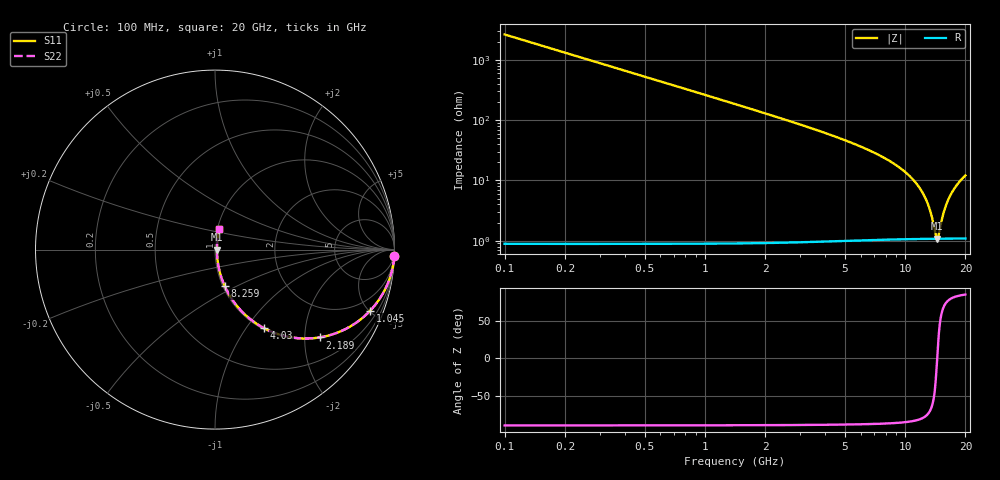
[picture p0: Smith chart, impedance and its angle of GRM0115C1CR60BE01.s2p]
!Murata Part Number: GRM0115C1CR60BE01
!These Parameters are Measured in Series Mode Connection
!Data Generated on Mar 30, 2021
!  o--ll--o
!Port1  Port2
!  o------o
!Operation Temp=25[degC], DC Bias Voltage=0[V]
!Freq. Start=100[MHz] Stop=20[GHz] 401[Steps]
# Hz S RI R 50
!Freq.(Hz) S11(Real) S11(Imag) S21(Real) S21(Imag) S12(Real) S12(Imag) S22(Real) S22(Imag)
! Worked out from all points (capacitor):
!   401 points, 100 MHz to 20 GHz, reference 50 ohm
!   read as one part in series: C = 600 fF near 199.5 MHz
!   lowest |Z| = 1.08 ohm at 14.48 GHz (marker M1)
!   series resonance near 14.46 GHz, so ESL is about 200 pH
!   S11 on the Smith chart (normalised r, x): 100 MHz: 1, -53; 1.045 GHz: 1.02, -5.05; 2.189 GHz: 1.02, -2.37; 4.03 GHz: 1.02, -1.21; 8.259 GHz: 1.02, -0.43; 20 GHz: 1.02, +0.24
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1e8  0.9986 -0.0376  0.00143 0.0376  0.00143 0.0376  0.9986 -0.0376
2.99e8  0.9873 -0.1113  0.0127 0.1113  0.0127 0.1113  0.9873 -0.1113
4.4825e8  0.972 -0.1644  0.028 0.1644  0.028 0.1644  0.972 -0.1644
6.97e8  0.9346 -0.246  0.0654 0.246  0.0654 0.246  0.9346 -0.246
1.04525e9  0.8635 -0.3416  0.1365 0.3416  0.1365 0.3416  0.8635 -0.3416
1.54275e9  0.7417 -0.4351  0.2583 0.4351  0.2583 0.4351  0.7417 -0.4351
2.1895e9  0.5826 -0.4893  0.4174 0.4893  0.4174 0.4893  0.5826 -0.4893
3.43325e9  0.3485 -0.47  0.6515 0.47  0.6515 0.47  0.3485 -0.47
4.03025e9  0.272 -0.4371  0.728 0.4371  0.728 0.4371  0.272 -0.4371
6.7665e9  0.093 -0.2742  0.907 0.2742  0.907 0.2742  0.093 -0.2742
8.259e9  0.0535 -0.2022  0.9465 0.2022  0.9465 0.2022  0.0535 -0.2022
1.005e10  0.0281 -0.1309  0.9719 0.1309  0.9719 0.1309  0.0281 -0.1309
1.204e10  0.0149 -0.0657  0.9851 0.0657  0.9851 0.0657  0.0149 -0.0657
1.278625e10  0.0126 -0.0441  0.9874 0.0441  0.9874 0.0441  0.0126 -0.0441
1.338325e10  0.0114 -0.0277  0.9886 0.0277  0.9886 0.0277  0.0114 -0.0277
1.4229e10  0.0107 -0.00579  0.9893 0.00579  0.9893 0.00579  0.0107 -0.00579
1.447775e10  0.0107 0.000414  0.9893 -0.000414  0.9893 -0.000414  0.0107 0.000414
1.467675e10  0.0107 0.0053  0.9893 -0.0053  0.9893 -0.0053  0.0107 0.0053
1.5622e10  0.0115 0.0276  0.9885 -0.0276  0.9885 -0.0276  0.0115 0.0276
1.67165e10  0.0134 0.0519  0.9866 -0.0519  0.9866 -0.0519  0.0134 0.0519
1.815925e10  0.0175 0.0816  0.9825 -0.0816  0.9825 -0.0816  0.0175 0.0816
2e10  0.0247 0.1164  0.9753 -0.1164  0.9753 -0.1164  0.0247 0.1164
